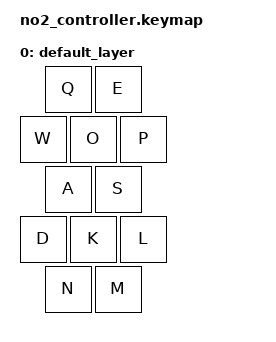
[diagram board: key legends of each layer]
/*
 * Copyright (c) 2022 The ZMK Contributors
 *
 * SPDX-License-Identifier: MIT
 */

 #include <behaviors.dtsi>
 #include <dt-bindings/zmk/keys.h>
 #include <dt-bindings/zmk/bt.h>
 
 #define DEFAULT 0
 #define RAISE 1
 / {
     keymap {
         compatible = "zmk,keymap";
 
         default_layer {
//
//-----Shoulder bumpers-----
//    K1              K2
//-------Main Keys----------
//     K3        K4  K5
//   K6  K7
//     K8        K9  K10
//        K11 K12
//--------------------------

             bindings = <
                &kp Q                &kp E
                  &kp W        &kp O  &kp P
              &kp A  &kp S
                  &kp D        &kp K  &kp L
                      &kp N  &kp M
             >;
         };
     };
 };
